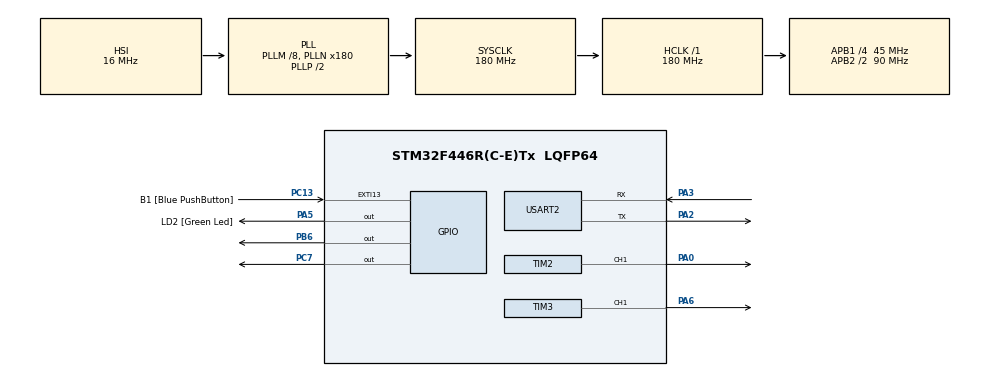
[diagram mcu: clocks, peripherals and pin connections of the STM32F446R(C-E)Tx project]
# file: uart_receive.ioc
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FREERTOS.Tasks01=defaultTask,24,128,StartDefaultTask,Default,NULL,Dynamic,NULL,NULL
FREERTOS.configUSE_NEWLIB_REENTRANT=1
Mcu.Family=STM32F4
Mcu.Name=STM32F446R(C-E)Tx
Mcu.Package=LQFP64
NVIC.EXTI15_10_IRQn=true\:5\:0\:false\:false\:true\:true\:true\:true\:true
NVIC.PriorityGroup=NVIC_PRIORITYGROUP_4
NVIC.TIM7_IRQn=true\:15\:0\:false\:false\:true\:false\:false\:true\:true
NVIC.TimeBase=TIM7_IRQn
NVIC.TimeBaseIP=TIM7
NVIC.USART2_IRQn=true\:5\:0\:false\:false\:true\:true\:true\:true\:true
PA0-WKUP.Signal=S_TIM2_CH1_ETR
PA13.GPIO_Label=TMS
PA13.Mode=Serial_Wire
PA13.Signal=SYS_JTMS-SWDIO
PA14.GPIO_Label=TCK
PA14.Mode=Serial_Wire
PA14.Signal=SYS_JTCK-SWCLK
PA2.Mode=Asynchronous
PA2.Signal=USART2_TX
PA3.Mode=Asynchronous
PA3.Signal=USART2_RX
PA5.GPIO_Label=LD2 [Green Led]
PA5.Signal=GPIO_Output
PA6.Signal=S_TIM3_CH1
PB3.GPIO_Label=SWO
PB3.Signal=SYS_JTDO-SWO
PB6.Signal=GPIO_Output
PC13.GPIO_Label=B1 [Blue PushButton]
PC13.GPIO_ModeDefaultEXTI=GPIO_MODE_IT_FALLING
PC13.Signal=GPXTI13
PC14-OSC32_IN.Mode=LSE-External-Oscillator
PC14-OSC32_IN.Signal=RCC_OSC32_IN
PC15-OSC32_OUT.Mode=LSE-External-Oscillator
PC15-OSC32_OUT.Signal=RCC_OSC32_OUT
PC7.Signal=GPIO_Output
PH0-OSC_IN.Mode=HSE-External-Oscillator
PH0-OSC_IN.Signal=RCC_OSC_IN
PH1-OSC_OUT.Mode=HSE-External-Oscillator
PH1-OSC_OUT.Signal=RCC_OSC_OUT
ProjectManager.HeapSize=0x200
ProjectManager.StackSize=0x400
ProjectManager.TargetToolchain=STM32CubeIDE
RCC.48MHZClocksFreq_Value=84000000
RCC.AHBFreq_Value=180000000
RCC.APB1CLKDivider=RCC_HCLK_DIV4
RCC.APB1Freq_Value=45000000
RCC.APB1TimFreq_Value=90000000
RCC.APB2CLKDivider=RCC_HCLK_DIV2
RCC.APB2Freq_Value=90000000
RCC.APB2TimFreq_Value=180000000
RCC.CortexFreq_Value=180000000
RCC.FLatency-AdvancedSettings=FLASH_LATENCY_5
RCC.HCLKFreq_Value=180000000
RCC.HSE_VALUE=8000000
RCC.HSI_VALUE=16000000
RCC.PLLM=8
RCC.PLLN=180
RCC.SYSCLKFreq_VALUE=180000000
RCC.SYSCLKSource=RCC_SYSCLKSOURCE_PLLCLK
RCC.USBFreq_Value=180000000
RCC.VCOOutputFreq_Value=360000000
SH.S_TIM2_CH1_ETR.0=TIM2_CH1,PWM Generation1 CH1
SH.S_TIM3_CH1.0=TIM3_CH1,PWM Generation1 CH1
TIM2.AutoReloadPreload=TIM_AUTORELOAD_PRELOAD_ENABLE
TIM2.Channel-PWM\ Generation1\ CH1=TIM_CHANNEL_1
TIM2.Period=255
TIM2.Pulse-PWM\ Generation1\ CH1=25
TIM3.AutoReloadPreload=TIM_AUTORELOAD_PRELOAD_ENABLE
TIM3.Channel-PWM\ Generation1\ CH1=TIM_CHANNEL_1
TIM3.Period=255
TIM3.Pulse-PWM\ Generation1\ CH1=25
USART2.VirtualMode=VM_ASYNC
VP_FREERTOS_VS_CMSIS_V2.Mode=CMSIS_V2
VP_SYS_VS_tim7.Mode=TIM7
VP_TIM2_VS_ClockSourceINT.Mode=Internal
VP_TIM3_VS_ClockSourceINT.Mode=Internal
board=NUCLEO-F446RE

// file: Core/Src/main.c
/* USER CODE BEGIN Header */
/**
  ******************************************************************************
  * @file           : main.c
  * @brief          : Main program body
  ******************************************************************************
  * @attention
  *
  * Copyright (c) 2026 STMicroelectronics.
  * All rights reserved.
  *
  * This software is licensed under terms that can be found in the LICENSE file
  * in the root directory of this software component.
  * If no LICENSE file comes with this software, it is provided AS-IS.
  *
  ******************************************************************************
  */
/* USER CODE END Header */
#include "main.h"
#include "cmsis_os.h"

/* USER CODE BEGIN PD */
#define PULSE_HIGH  200
#define PULSE_LOW   100
#define INCREMENT 10
/* USER CODE END PD */

TIM_HandleTypeDef htim2;
TIM_HandleTypeDef htim3;
UART_HandleTypeDef huart2;

/* Definitions for motorControlTask */
osThreadId_t motorControlTaskHandle;
const osThreadAttr_t motorControlTask_attributes = {
  .name = "motorCtrlTask",
  .stack_size = 256 * 4,
  .priority = (osPriority_t) osPriorityNormal,
};

/* Definitions for motorControlTask */
osThreadId_t LEDControlTaskHandle;
const osThreadAttr_t LEDControlTask_attributes = {
  .name = "LEDControlTask",
  .stack_size = 256 * 4,
  .priority = (osPriority_t) osPriorityLow,
};

/* USER CODE BEGIN PV */

/* Queue handle: holds single received command bytes */
osMessageQueueId_t uartCmdQueueHandle;

/* DMA/IT receive buffer — only 1 byte at a time */
uint8_t rx_byte;

uint8_t tx_dataR[] = "Right\n";
uint8_t tx_dataL[] = "Left\n";

/* USER CODE END PV */

void SystemClock_Config(void);
static void MX_GPIO_Init(void);
static void MX_USART2_UART_Init(void);
static void MX_TIM2_Init(void);
static void MX_TIM3_Init(void);
void MotorControlTask(void *argument);
void BlinkLEDTask(void *argument);

int main(void)
{
  /* MCU Configuration--------------------------------------------------------*/
  HAL_Init();
  SystemClock_Config();

  /* Initialize all configured peripherals */
  MX_GPIO_Init();
  MX_USART2_UART_Init();
  MX_TIM2_Init();
  MX_TIM3_Init();

  /* USER CODE BEGIN 2 */
  HAL_TIM_PWM_Start(&htim2, TIM_CHANNEL_1);
  HAL_TIM_PWM_Start(&htim3, TIM_CHANNEL_1);

  __HAL_TIM_SET_COMPARE(&htim2, TIM_CHANNEL_1, 125);
  __HAL_TIM_SET_COMPARE(&htim3, TIM_CHANNEL_1, 125);
  /* USER CODE END 2 */

  /* Init scheduler */
  osKernelInitialize();

  /* USER CODE BEGIN RTOS_QUEUES */
  /* Queue depth of 8 command bytes — plenty of headroom */
  uartCmdQueueHandle = osMessageQueueNew(8, sizeof(uint8_t), NULL);
  /* USER CODE END RTOS_QUEUES */

  /* Create the motor control task */
  motorControlTaskHandle = osThreadNew(MotorControlTask, NULL, &motorControlTask_attributes);
  LEDControlTaskHandle = osThreadNew(BlinkLEDTask, NULL, &LEDControlTask_attributes);

  HAL_UART_Receive_IT(&huart2, &rx_byte, 1);

  USART2->CR1;

  /* Start scheduler — does not return */
  osKernelStart();

  /* We should never get here */
  while (1) {}
}

/* USER CODE BEGIN 4 */

/**
  * @brief  UART Rx Complete Callback (called from ISR context).
  *         Posts the received byte to the command queue and re-arms the receiver.
  * @param  huart: UART handle
  */
void HAL_UART_RxCpltCallback(UART_HandleTypeDef *huart)
{
	if (huart->Instance == USART2)
		{
			//HAL_GPIO_TogglePin(GPIOA, GPIO_PIN_5); // LED blinks = ISR firing
			osMessageQueuePut(uartCmdQueueHandle, &rx_byte, 0, 0);
			HAL_UART_Receive_IT(&huart2, &rx_byte, 1);
		}
}

/* USER CODE END 4 */
/**
  * @brief  LED control task.
  *
  * @param  argument: unused
  */
void BlinkLEDTask(void *argument)
{
	TickType_t xLastWakeTime = xTaskGetTickCount();
	const TickType_t xPeriod = pdMS_TO_TICKS(500);

	for (;;)
	{
		HAL_GPIO_TogglePin(GPIOA, GPIO_PIN_5);
		vTaskDelayUntil(&xLastWakeTime, xPeriod);
	}
}

/**
  * @brief  Motor control task.
  *         Blocks on the command queue; updates PWM outputs on 'R' or 'L'.
  * @param  argument: unused
  */
void MotorControlTask(void *argument)
{
  uint8_t cmd;
  int pulseL = 125;
  int pulseR = 125;

  /* Arm the very first UART receive before entering the loop */
  //HAL_UART_Receive_IT(&huart2, &rx_byte, 1);

  for (;;)
  {
    /* Block indefinitely until a command byte arrives */
    if (osMessageQueueGet(uartCmdQueueHandle, &cmd, NULL, osWaitForever) == osOK)
    {
      if (cmd == 'R')
      {
        pulseR += INCREMENT;
        pulseL -= INCREMENT;
        pulseR = (pulseR < 0) ? 0 : (pulseR > 255) ? 255 : pulseR;
        pulseL = (pulseL < 0) ? 0 : (pulseL > 255) ? 255 : pulseL;
        __HAL_TIM_SET_COMPARE(&htim2, TIM_CHANNEL_1, pulseR);
        __HAL_TIM_SET_COMPARE(&htim3, TIM_CHANNEL_1, pulseL);
        //HAL_GPIO_TogglePin(GPIOA, GPIO_PIN_5);
        HAL_UART_Transmit(&huart2, tx_dataR, sizeof(tx_dataR) - 1, 10);
      }
      else if (cmd == 'L')
      {
    	pulseR -= INCREMENT;
    	pulseL += INCREMENT;
        pulseR = (pulseR < 0) ? 0 : (pulseR > 255) ? 255 : pulseR;
        pulseL = (pulseL < 0) ? 0 : (pulseL > 255) ? 255 : pulseL;
        __HAL_TIM_SET_COMPARE(&htim2, TIM_CHANNEL_1, pulseR);
        __HAL_TIM_SET_COMPARE(&htim3, TIM_CHANNEL_1, pulseL);
        //HAL_GPIO_TogglePin(GPIOA, GPIO_PIN_5);
        HAL_UART_Transmit(&huart2, tx_dataL, sizeof(tx_dataL) - 1, 10);
      }
      /* Unknown bytes are silently discarded */
    }
  }
}

void SystemClock_Config(void)
{
  RCC_OscInitTypeDef RCC_OscInitStruct = {0};
  RCC_ClkInitTypeDef RCC_ClkInitStruct = {0};

  __HAL_RCC_PWR_CLK_ENABLE();
  __HAL_PWR_VOLTAGESCALING_CONFIG(PWR_REGULATOR_VOLTAGE_SCALE1);

  RCC_OscInitStruct.OscillatorType = RCC_OSCILLATORTYPE_HSI;
  RCC_OscInitStruct.HSIState = RCC_HSI_ON;
  RCC_OscInitStruct.HSICalibrationValue = RCC_HSICALIBRATION_DEFAULT;
  RCC_OscInitStruct.PLL.PLLState = RCC_PLL_ON;
  RCC_OscInitStruct.PLL.PLLSource = RCC_PLLSOURCE_HSI;
  RCC_OscInitStruct.PLL.PLLM = 8;
  RCC_OscInitStruct.PLL.PLLN = 180;
  RCC_OscInitStruct.PLL.PLLP = RCC_PLLP_DIV2;
  RCC_OscInitStruct.PLL.PLLQ = 2;
  RCC_OscInitStruct.PLL.PLLR = 2;
  if (HAL_RCC_OscConfig(&RCC_OscInitStruct) != HAL_OK)
  {
    Error_Handler();
  }

  if (HAL_PWREx_EnableOverDrive() != HAL_OK)
  {
    Error_Handler();
  }

  RCC_ClkInitStruct.ClockType = RCC_CLOCKTYPE_HCLK | RCC_CLOCKTYPE_SYSCLK
                               | RCC_CLOCKTYPE_PCLK1 | RCC_CLOCKTYPE_PCLK2;
  RCC_ClkInitStruct.SYSCLKSource = RCC_SYSCLKSOURCE_PLLCLK;
  RCC_ClkInitStruct.AHBCLKDivider = RCC_SYSCLK_DIV1;
  RCC_ClkInitStruct.APB1CLKDivider = RCC_HCLK_DIV4;
  RCC_ClkInitStruct.APB2CLKDivider = RCC_HCLK_DIV2;

  if (HAL_RCC_ClockConfig(&RCC_ClkInitStruct, FLASH_LATENCY_5) != HAL_OK)
  {
    Error_Handler();
  }
}

static void MX_TIM2_Init(void)
{
  TIM_ClockConfigTypeDef sClockSourceConfig = {0};
  TIM_MasterConfigTypeDef sMasterConfig = {0};
  TIM_OC_InitTypeDef sConfigOC = {0};

  htim2.Instance = TIM2;
  htim2.Init.Prescaler = 0;
  htim2.Init.CounterMode = TIM_COUNTERMODE_UP;
  htim2.Init.Period = 255;
  htim2.Init.ClockDivision = TIM_CLOCKDIVISION_DIV1;
  htim2.Init.AutoReloadPreload = TIM_AUTORELOAD_PRELOAD_ENABLE;
  if (HAL_TIM_Base_Init(&htim2) != HAL_OK) { Error_Handler(); }

  sClockSourceConfig.ClockSource = TIM_CLOCKSOURCE_INTERNAL;
  if (HAL_TIM_ConfigClockSource(&htim2, &sClockSourceConfig) != HAL_OK) { Error_Handler(); }
  if (HAL_TIM_PWM_Init(&htim2) != HAL_OK) { Error_Handler(); }

  sMasterConfig.MasterOutputTrigger = TIM_TRGO_RESET;
  sMasterConfig.MasterSlaveMode = TIM_MASTERSLAVEMODE_DISABLE;
  if (HAL_TIMEx_MasterConfigSynchronization(&htim2, &sMasterConfig) != HAL_OK) { Error_Handler(); }

  sConfigOC.OCMode = TIM_OCMODE_PWM1;
  sConfigOC.Pulse = 25;
  sConfigOC.OCPolarity = TIM_OCPOLARITY_HIGH;
  sConfigOC.OCFastMode = TIM_OCFAST_DISABLE;
  if (HAL_TIM_PWM_ConfigChannel(&htim2, &sConfigOC, TIM_CHANNEL_1) != HAL_OK) { Error_Handler(); }

  HAL_TIM_MspPostInit(&htim2);
}

static void MX_TIM3_Init(void)
{
  TIM_ClockConfigTypeDef sClockSourceConfig = {0};
  TIM_MasterConfigTypeDef sMasterConfig = {0};
  TIM_OC_InitTypeDef sConfigOC = {0};

  htim3.Instance = TIM3;
  htim3.Init.Prescaler = 0;
  htim3.Init.CounterMode = TIM_COUNTERMODE_UP;
  htim3.Init.Period = 255;
  htim3.Init.ClockDivision = TIM_CLOCKDIVISION_DIV1;
  htim3.Init.AutoReloadPreload = TIM_AUTORELOAD_PRELOAD_ENABLE;
  if (HAL_TIM_Base_Init(&htim3) != HAL_OK) { Error_Handler(); }

  sClockSourceConfig.ClockSource = TIM_CLOCKSOURCE_INTERNAL;
  if (HAL_TIM_ConfigClockSource(&htim3, &sClockSourceConfig) != HAL_OK) { Error_Handler(); }
  if (HAL_TIM_PWM_Init(&htim3) != HAL_OK) { Error_Handler(); }

  sMasterConfig.MasterOutputTrigger = TIM_TRGO_RESET;
  sMasterConfig.MasterSlaveMode = TIM_MASTERSLAVEMODE_DISABLE;
  if (HAL_TIMEx_MasterConfigSynchronization(&htim3, &sMasterConfig) != HAL_OK) { Error_Handler(); }

  sConfigOC.OCMode = TIM_OCMODE_PWM1;
  sConfigOC.Pulse = 25;
  sConfigOC.OCPolarity = TIM_OCPOLARITY_HIGH;
  sConfigOC.OCFastMode = TIM_OCFAST_DISABLE;
  if (HAL_TIM_PWM_ConfigChannel(&htim3, &sConfigOC, TIM_CHANNEL_1) != HAL_OK) { Error_Handler(); }

  HAL_TIM_MspPostInit(&htim3);
}

static void MX_USART2_UART_Init(void)
{
  huart2.Instance = USART2;
  huart2.Init.BaudRate = 115200;
  huart2.Init.WordLength = UART_WORDLENGTH_8B;
  huart2.Init.StopBits = UART_STOPBITS_1;
  huart2.Init.Parity = UART_PARITY_NONE;
  huart2.Init.Mode = UART_MODE_TX_RX;
  huart2.Init.HwFlowCtl = UART_HWCONTROL_NONE;
  huart2.Init.OverSampling = UART_OVERSAMPLING_16;
  if (HAL_UART_Init(&huart2) != HAL_OK) { Error_Handler(); }
}

static void MX_GPIO_Init(void)
{
  GPIO_InitTypeDef GPIO_InitStruct = {0};

  __HAL_RCC_GPIOC_CLK_ENABLE();
  __HAL_RCC_GPIOH_CLK_ENABLE();
  __HAL_RCC_GPIOA_CLK_ENABLE();
  __HAL_RCC_GPIOB_CLK_ENABLE();

  HAL_GPIO_WritePin(LD2_GPIO_Port, LD2_Pin, GPIO_PIN_RESET);
  HAL_GPIO_WritePin(GPIOC, GPIO_PIN_7, GPIO_PIN_RESET);
  HAL_GPIO_WritePin(GPIOB, GPIO_PIN_6, GPIO_PIN_RESET);

  GPIO_InitStruct.Pin = B1_Pin;
  GPIO_InitStruct.Mode = GPIO_MODE_IT_FALLING;
  GPIO_InitStruct.Pull = GPIO_NOPULL;
  HAL_GPIO_Init(B1_GPIO_Port, &GPIO_InitStruct);

  GPIO_InitStruct.Pin = LD2_Pin;
  GPIO_InitStruct.Mode = GPIO_MODE_OUTPUT_PP;
  GPIO_InitStruct.Pull = GPIO_NOPULL;
  GPIO_InitStruct.Speed = GPIO_SPEED_FREQ_LOW;
  HAL_GPIO_Init(LD2_GPIO_Port, &GPIO_InitStruct);

  GPIO_InitStruct.Pin = GPIO_PIN_7;
  GPIO_InitStruct.Mode = GPIO_MODE_OUTPUT_PP;
  GPIO_InitStruct.Pull = GPIO_NOPULL;
  GPIO_InitStruct.Speed = GPIO_SPEED_FREQ_LOW;
  HAL_GPIO_Init(GPIOC, &GPIO_InitStruct);

  GPIO_InitStruct.Pin = GPIO_PIN_6;
  GPIO_InitStruct.Mode = GPIO_MODE_OUTPUT_PP;
  GPIO_InitStruct.Pull = GPIO_NOPULL;
  GPIO_InitStruct.Speed = GPIO_SPEED_FREQ_LOW;
  HAL_GPIO_Init(GPIOB, &GPIO_InitStruct);

  HAL_NVIC_SetPriority(EXTI15_10_IRQn, 5, 0);
  HAL_NVIC_EnableIRQ(EXTI15_10_IRQn);
}

void HAL_TIM_PeriodElapsedCallback(TIM_HandleTypeDef *htim)
{
  if (htim->Instance == TIM7)
  {
    HAL_IncTick();
  }
}

/**
  * @brief  Error handler.
  */
void Error_Handler(void)
{
  __disable_irq();
  while (1) {}
}
